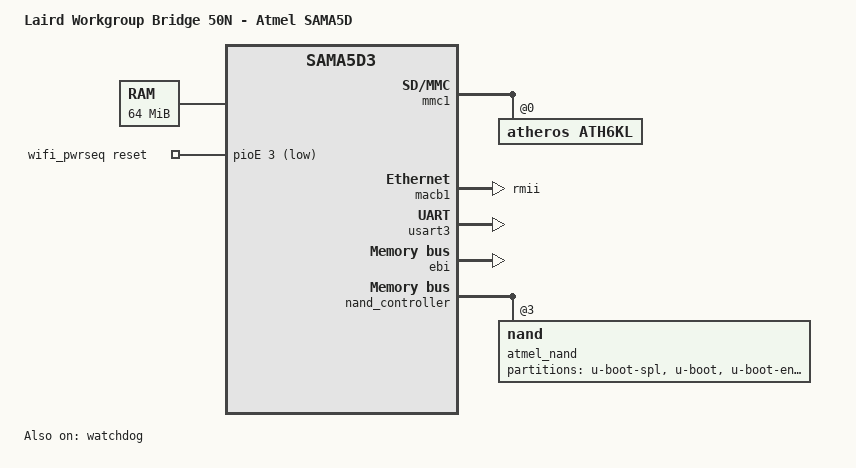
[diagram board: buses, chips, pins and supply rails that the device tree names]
// SPDX-License-Identifier: GPL-2.0
/*
 * at91-wb50n.dtsi - Device Tree include file for wb50n cpu module
 *
 *  Copyright (C) 2018 Laird
 *
 */

#include "sama5d31.dtsi"

/ {
	model = "Laird Workgroup Bridge 50N - Atmel SAMA5D";
	compatible = "laird,wb50n", "atmel,sama5d31", "atmel,sama5d3", "atmel,sama5";

	chosen {
		stdout-path = "serial0:115200n8";
	};

	memory {
		reg = <0x20000000 0x4000000>;
	};

	wifi_pwrseq: wifi_pwrseq {
		pinctrl-names = "default";
		pinctrl-0 = <&pinctrl_wifi_pmu_en>;

		compatible = "mmc-pwrseq-simple";
		reset-gpios = <&pioE 3 GPIO_ACTIVE_LOW>;
		post-power-on-delay-ms = <1>;
	};
/*
	wakeup-wifi-bt {
		pinctrl-names = "default";
		pinctrl-0 = <&pinctrl_wifi_wake &pinctrl_bt_wake>;

		compatible = "gpio-wakeup";

		interrupt-names = "wifi-wake", "bt-wake";
		interrupts-extended = <&pioC 31 IRQ_TYPE_EDGE_FALLING>,
			<&pioE 10 IRQ_TYPE_EDGE_FALLING>;
	};
*/
	ahb {
		apb {
			sha@f8034000 {
				status = "disabled";
			};
		};
	};
};

&pinctrl {
	board {
		pinctrl_mmc0_cd: mmc0_cd {
			atmel,pins = <AT91_PIOC 26 AT91_PERIPH_GPIO AT91_PINCTRL_PULL_UP_DEGLITCH>; /* PC26 GPIO with pullup deglitch */
		};

		pinctrl_usba_vbus: usba_vbus {
			atmel,pins = <AT91_PIOB 13 AT91_PERIPH_GPIO AT91_PINCTRL_DEGLITCH>; /* PB13 GPIO with deglitch */
		};

		pinctrl_wifi_pmu_en: wifi_pmu_en {
			atmel,pins =
				<AT91_PIOE 3 AT91_PERIPH_GPIO AT91_PINCTRL_PULL_UP>;
		};

		pinctrl_wifi_wake: wifi_wake {
			atmel,pins =
				<AT91_PIOC 31 AT91_PERIPH_GPIO AT91_PINCTRL_PULL_UP_DEGLITCH>;
		};

		pinctrl_bt_wake: bt_wake {
			atmel,pins =
				<AT91_PIOE 10 AT91_PERIPH_GPIO AT91_PINCTRL_PULL_UP_DEGLITCH>;
		};
	};
};

&watchdog {
	atmel,idle-halt;
	status = "okay";
};

&slow_xtal {
	clock-frequency = <32768>;
};

&main_xtal {
	clock-frequency = <12000000>;
};

&slow_osc {
	atmel,osc-bypass;
};

&usart1_clk {
	atmel,clk-output-range = <0 132000000>;
};

&mmc0 {
	pinctrl-names = "default";
	pinctrl-0 = <&pinctrl_mmc0_clk_cmd_dat0 &pinctrl_mmc0_dat1_3 &pinctrl_mmc0_cd>;

	slot@0 {
		reg = <0>;
		bus-width = <4>;
		cd-gpios = <&pioC 26 GPIO_ACTIVE_LOW>;
	};
};

&mmc1 {
	status = "okay";

	mmc-pwrseq = <&wifi_pwrseq>;

	atheros@0 {
		compatible = "atheros,ath6kl";
		atheros,board-id = "SD32";
		reg = <0>;
		bus-width = <4>;
	};
};

&macb1 {
	#address-cells = <1>;
	#size-cells = <0>;

	phy-mode = "rmii";
};

&dbgu {
	dmas = <0>, <0>;	/*  Do not use DMA for dbgu */
};

/* On BB40 this port is labeled UART1 */
&usart0 {
	atmel,use-dma-rx;
	atmel,use-dma-tx;
	pinctrl-names = "default";
	pinctrl-0 = <&pinctrl_usart0 &pinctrl_usart0_rts_cts>;
};

/* On BB40 this port is labeled UART0 */
&usart1 {
	atmel,use-dma-rx;
	atmel,use-dma-tx;
	pinctrl-names = "default";
	pinctrl-0 = <&pinctrl_usart1 &pinctrl_usart1_rts_cts>;
	dtr-gpios = <&pioD 13 GPIO_ACTIVE_LOW>;
	dsr-gpios = <&pioD 11 GPIO_ACTIVE_LOW>;
	dcd-gpios = <&pioD 7 GPIO_ACTIVE_LOW>;
	rng-gpios = <&pioD 8 GPIO_ACTIVE_LOW>;
};

/* USART3 is direct-connect to the Bluetooth UART on the radio SIP */
&usart3 {
	atmel,use-dma-rx;
	atmel,use-dma-tx;
	pinctrl-names = "default";
	pinctrl-0 = <&pinctrl_usart3 &pinctrl_usart3_rts_cts>;
	status = "okay";
};

&spi1 {
	cs-gpios = <&pioC 25 0>, <0>, <0>, <0>;
};

&ebi {
	pinctrl-0 = <&pinctrl_ebi_nand_addr>;
	pinctrl-names = "default";
	status = "okay";
};

&nand_controller {
	status = "okay";

	nand: nand@3 {
		reg = <0x3 0x0 0x2>;
		atmel,rb = <0>;
		nand-bus-width = <8>;
		nand-ecc-mode = "hw";
		nand-ecc-strength = <8>;
		nand-ecc-step-size = <512>;
		nand-on-flash-bbt;
		label = "atmel_nand";

		partitions {
			compatible = "fixed-partitions";
			#address-cells = <1>;
			#size-cells = <1>;

			ubootspl@0 {
				label = "u-boot-spl";
				reg = <0x0 0x20000>;
			};

			uboot@20000 {
				label = "u-boot";
				reg = <0x20000 0x80000>;
			};

			ubootenv@a0000 {
				label = "u-boot-env";
				reg = <0xa0000 0x20000>;
			};

			ubootenv@c0000 {
				label = "u-boot-env";
				reg = <0xc0000 0x20000>;
			};

			ubi@e0000 {
				label = "ubi";
				reg = <0xe0000 0x8000000>;
			};
		};
	};
};

&usb0 {
	atmel,vbus-gpio = <&pioB 13 GPIO_ACTIVE_LOW>;
	pinctrl-names = "default";
	pinctrl-0 = <&pinctrl_usba_vbus>;
};

&usb1 {
	num-ports = <3>;
	atmel,vbus-gpio = <&pioA 2 GPIO_ACTIVE_LOW>;
	atmel,oc-gpio = <&pioA 4 GPIO_ACTIVE_LOW>;
};

&tcb0 {
	timer0: timer@0 {
		compatible = "atmel,tcb-timer";
		reg = <0>;
	};

	timer1: timer@1 {
		compatible = "atmel,tcb-timer";
		reg = <1>;
	};
};
